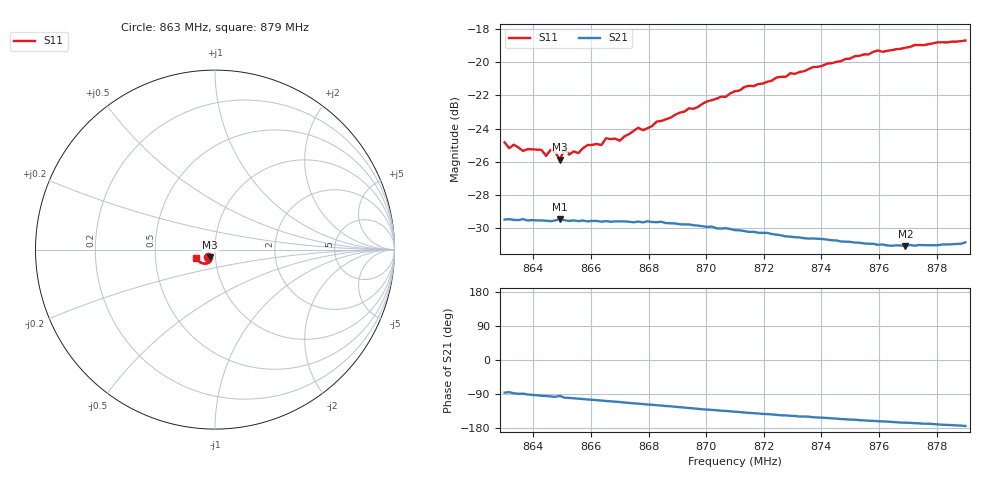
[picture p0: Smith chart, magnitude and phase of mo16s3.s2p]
# HZ S RI R 50
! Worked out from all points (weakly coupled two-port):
!   101 points, 863 MHz to 879 MHz, reference 50 ohm
!   highest |S21| = -29.45 dB at 864.92 MHz (marker M1); lowest = -31.1 dB at 876.92 MHz (marker M2)
!   lowest |S11| = -25.9 dB at 864.92 MHz (marker M3), VSWR 1.11, Z = 47.2 - j4.09 ohm
!   |S11| at or under -10 dB: start of sweep to end of sweep
!   S12 and S22 are empty: the file has one direction only
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8.63e8  -0.0417 -0.0393  0.00235 -0.0335  0 0  0 0
8.6316e8  -0.0362 -0.0414  0.00299 -0.0335  0 0  0 0
8.6332e8  -0.038 -0.0417  0.00124 -0.0334  0 0  0 0
8.6364e8  -0.0336 -0.0423  0.000626 -0.0336  0 0  0 0
8.6428e8  -0.031 -0.0447  -0.00255 -0.0332  0 0  0 0
8.6444e8  -0.0296 -0.043  -0.0029 -0.0332  0 0  0 0
8.646e8  -0.0315 -0.0444  -0.00348 -0.033  0 0  0 0
8.6492e8  -0.0268 -0.0432  -0.00281 -0.0336  0 0  0 0
8.6508e8  -0.0277 -0.0472  -0.00547 -0.0329  0 0  0 0
8.6524e8  -0.027 -0.0452  -0.0058 -0.0327  0 0  0 0
8.6572e8  -0.0249 -0.049  -0.0075 -0.0325  0 0  0 0
8.6636e8  -0.0283 -0.0486  -0.0097 -0.0316  0 0  0 0
8.6652e8  -0.0248 -0.0535  -0.0103 -0.0315  0 0  0 0
8.67e8  -0.023 -0.0532  -0.0118 -0.0309  0 0  0 0
8.6764e8  -0.025 -0.0583  -0.0141 -0.03  0 0  0 0
8.678e8  -0.0241 -0.0575  -0.0146 -0.0295  0 0  0 0
8.6844e8  -0.0243 -0.0619  -0.0167 -0.0285  0 0  0 0
8.71e8  -0.0354 -0.0736  -0.0226 -0.0214  0 0  0 0
8.7372e8  -0.0559 -0.0789  -0.0258 -0.0142  0 0  0 0
8.7644e8  -0.0833 -0.0699  -0.0268 -0.008  0 0  0 0
8.7692e8  -0.088 -0.0669  -0.027 -0.00704  0 0  0 0
8.79e8  -0.1052 -0.0495  -0.0285 -0.00291  0 0  0 0
